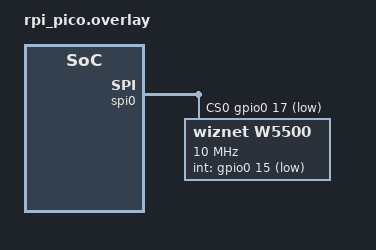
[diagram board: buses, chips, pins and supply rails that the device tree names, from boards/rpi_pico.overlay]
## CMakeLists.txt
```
cmake_minimum_required(VERSION 3.20.0)
find_package(Zephyr REQUIRED HINTS $ENV{ZEPHYR_BASE})

project(w5500-test)
target_sources(app PRIVATE src/main.c)
```

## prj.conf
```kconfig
CONFIG_NET_L2_ETHERNET=y
CONFIG_ETH_DRIVER=y
CONFIG_ETH_W5500=y

CONFIG_NETWORKING=y
CONFIG_NET_IPV6=y
CONFIG_NET_IPV4=y
CONFIG_NET_DHCPV4=y
CONFIG_NET_TCP=y

CONFIG_NET_MAX_ROUTES=2

CONFIG_NET_SOCKETS=y
CONFIG_NET_SOCKETS_POSIX_NAMES=y
CONFIG_NET_SOCKETS_POLL_MAX=4

CONFIG_NET_CONFIG_AUTO_INIT=y
CONFIG_NET_CONFIG_NEED_IPV6=y
CONFIG_NET_CONFIG_NEED_IPV6_ROUTER=y

CONFIG_CONSOLE=y
CONFIG_UART_CONSOLE=y

CONFIG_LOG_PRINTK=y
CONFIG_LOG_BACKEND_UART=y
CONFIG_LOG=y
CONFIG_NET_CONFIG_LOG_LEVEL_INF=y

CONFIG_NET_LOG=y
CONFIG_NET_SHELL=y
```

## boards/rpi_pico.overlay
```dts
&spi0 {
	cs-gpios = <&gpio0 17 GPIO_ACTIVE_LOW>;
	
	w5500@0 {
		compatible = "wiznet,w5500";
		reg = <0>;
		int-gpios = <&gpio0 15 GPIO_ACTIVE_LOW>;
		spi-max-frequency = <10000000>;
	};
};
```

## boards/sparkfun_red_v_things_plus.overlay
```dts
&spi1 {
	cs-gpios = <&gpio0 9 GPIO_ACTIVE_LOW>;
	
	w5500@0 {
		compatible = "wiznet,w5500";
		reg = <0>;
		int-gpios = <&gpio0 10 GPIO_ACTIVE_LOW>;
		spi-max-frequency = <10000000>;
	};
};
```

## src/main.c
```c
#include <zephyr/logging/log.h>
LOG_MODULE_REGISTER(w5500_test, LOG_LEVEL_DBG);

#include <zephyr/kernel.h>
#include <zephyr/net/net_config.h>

int main(void)
{
	LOG_INF("owo");
	while(1) {
		k_sleep(K_MSEC(1000));
	}
}
```
